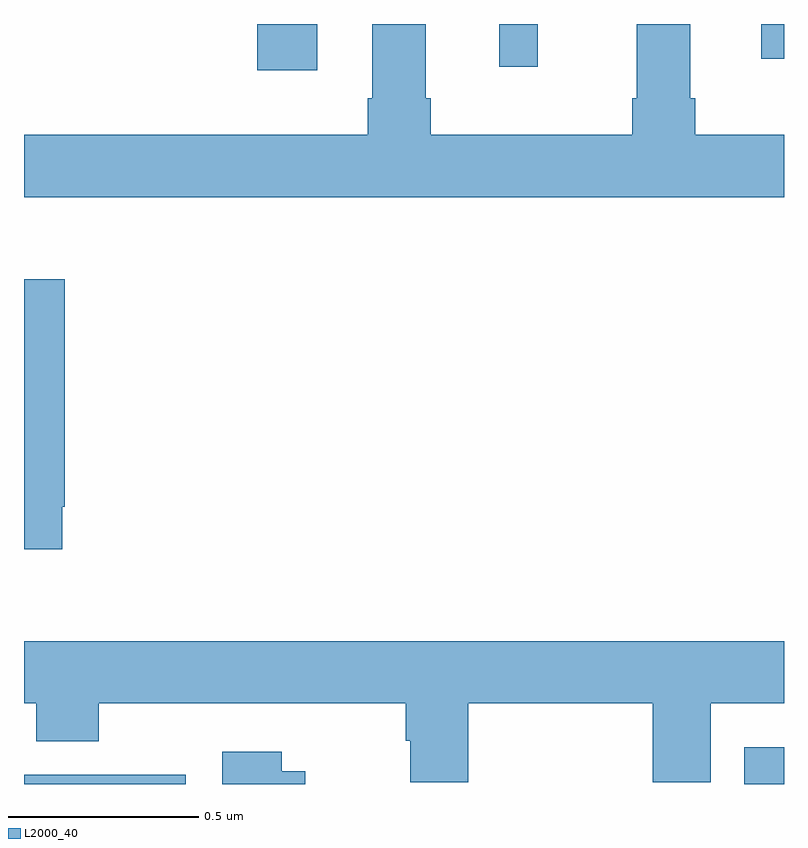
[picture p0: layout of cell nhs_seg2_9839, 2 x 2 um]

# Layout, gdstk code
import gdstk
lib = gdstk.Library(unit=1e-6, precision=1e-09)
def R(c, l, rs):  # rectangles x0, y0, x1, y1
    for r in rs: c.add(gdstk.rectangle(r[:2], r[2:], *l))
def P(c, l, *ps):  # polygons
    for p in ps: c.add(gdstk.Polygon(p, *l))
L2000_40 = (2000, 40)

nhs_seg2_9839 = lib.new_cell('nhs_seg2_9839')
R(nhs_seg2_9839, L2000_40, [(234,604.8,234.426,604.824), (235.896,604.8,236,604.897), (234.614,606.678,234.772,606.8), (235.25,606.687,235.352,606.8), (235.94,606.708,236,606.8)])
P(nhs_seg2_9839, L2000_40, [(236,606.508),(235.766,606.508),(235.766,606.604),(235.753,606.604),(235.753,606.8),(235.613,606.8),(235.613,606.604),(235.601,606.604),(235.601,606.508),(235.07,606.508),(235.07,606.604),(235.057,606.604),(235.057,606.8),(234.917,606.8),(234.917,606.604),(234.905,606.604),(234.905,606.508),(234,606.508),(234,606.344),(236,606.344)],
  [(234.1,605.53),(234.107,605.53),(234.107,606.128),(234,606.128),(234,605.418),(234.1,605.418)],
  [(235.169,605.012),(235.655,605.012),(235.655,604.804),(235.807,604.804),(235.807,605.012),(236,605.012),(236,605.176),(234,605.176),(234,605.012),(234.032,605.012),(234.032,604.913),(234.197,604.913),(234.197,605.012),(235.004,605.012),(235.004,604.914),(235.016,604.914),(235.016,604.804),(235.169,604.804)],
  [(234.74,604.833),(234.678,604.833),(234.678,604.885),(234.522,604.885),(234.522,604.8),(234.74,604.8)])

lib.write_gds('nhs_seg2_9839.gds')
